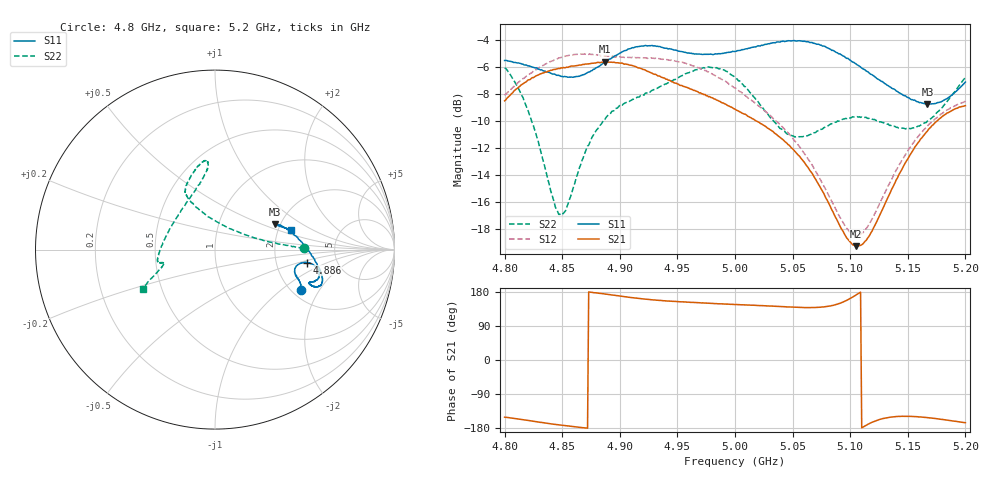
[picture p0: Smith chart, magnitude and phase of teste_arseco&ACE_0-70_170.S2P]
! Network Analyzer HP8722D
! Hewlett-Packard
! Data name: Linha & Wilkinson
! Saver's name: Rodrigo Anjos
! Comments: Teste da utilização de aquisição
! continua pelo VNA HP8722D
! Time and date: 8/5/2025 14:10
!  Frequency  S11  S21  S12  S22
# HZ  S  MA R 50
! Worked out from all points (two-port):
!   401 points, 4.8 GHz to 5.2 GHz, reference 50 ohm
!   highest |S21| = -5.65 dB at 4.887 GHz (marker M1); lowest = -19.3 dB at 5.105 GHz (marker M2)
!   |S21| within 3 dB of the highest: start of sweep to 4.988 GHz
!   lowest |S11| = -8.8 dB at 5.167 GHz (marker M3), VSWR 2.14, Z = 94.1 + j30.5 ohm
!   |S11| at or under -10 dB: nowhere
!   |S22| runs from -17.0 to -6.0 dB; largest |S21 - S12| = 1.1
!   S11 on the Smith chart (normalised r, x): 4.8 GHz: 2.23, -1.39; 4.886 GHz: 3.01, -0.59; 5.2 GHz: 2.35, +0.65
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4.8e9  0.5278 -25.2  0.3743 -150.9  0.3922 8.6  0.4958 0.8
4.821e9  0.5044 -20.6  0.4477 -159.9  0.4683 5.4  0.3383 6.3
4.847e9  0.465 -16.2  0.4936 -171.0  0.5391 1.2  0.1423 55.6
4.853e9  0.4598 -14.7  0.4967 -173.4  0.5481 0.3  0.1469 79.4
4.867e9  0.4651 -11.0  0.5087 -178.4  0.5567 -1.8  0.2243 108.9
4.886e9  0.5166 -8.0  0.5187 174.8  0.5505 -3.0  0.3186 117.5
4.887e9  0.5188 -8.0  0.5219 174.2  0.5497 -2.9  0.3195 117.7
4.912e9  0.5881 -11.4  0.5035 163.9  0.5392 -2.1  0.3793 115.5
4.934e9  0.5942 -16.5  0.4624 157.2  0.5365 -3.1  0.4208 109.4
4.975e9  0.5558 -19.5  0.391 150.1  0.4846 -6.6  0.4975 97.2
5e9  0.5695 -20.3  0.3488 146.3  0.4171 -6.7  0.4563 95.3
5.017e9  0.5926 -20.4  0.318 144.3  0.3681 -4.1  0.3844 102.0
5.044e9  0.6213 -18.5  0.263 140.3  0.2905 1.6  0.2854 132.1
5.067e9  0.6149 -13.9  0.2017 138.3  0.2166 8.8  0.2829 164.9
5.095e9  0.5461 -4.2  0.1204 154.5  0.1303 34.8  0.3207 -172.2
5.105e9  0.5127 0.6  0.1085 171.6  0.1189 54.1  0.3263 -169.0
5.116e9  0.4766 6.2  0.1175 -168.7  0.1301 75.3  0.3221 -166.9
5.134e9  0.4225 15.1  0.1685 -151.1  0.1849 94.3  0.3036 -166.3
5.152e9  0.3806 21.2  0.2363 -148.8  0.2516 99.8  0.2952 -164.7
5.167e9  0.3641 22.8  0.2892 -152.1  0.3021 100.6  0.3149 -161.7
5.182e9  0.3775 20.6  0.3324 -157.7  0.3411 100.6  0.3627 -157.7
5.2e9  0.4393 14.6  0.3592 -165.5  0.373 101.1  0.4576 -151.5
